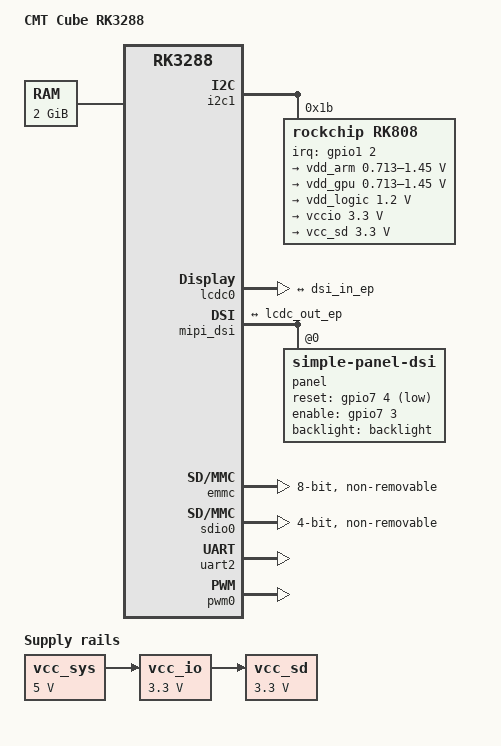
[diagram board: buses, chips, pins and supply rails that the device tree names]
// SPDX-License-Identifier: GPL-2.0+
/*
 * Device Tree Source for CMT Cube RK3288
 *
 * Based on vendor DTS and adapted for mainline U-Boot.
 */

#include "rk3288.dtsi"

/ {
	model = "CMT Cube RK3288";
	compatible = "rockchip,rk3288";

	memory {
		reg = <0x0 0x0 0x0 0x80000000>; /* 2GB */
	};

	chosen {
		stdout-path = "serial2:115200n8";
	};

	aliases {
		serial2 = &uart2;
	};

	/* Fixed regulators */
	vcc_sys: vsys-regulator {
		compatible = "regulator-fixed";
		regulator-name = "vcc_sys";
		regulator-min-microvolt = <5000000>;
		regulator-max-microvolt = <5000000>;
		regulator-always-on;
		regulator-boot-on;
	};

	vcc_io: vccio-regulator {
		compatible = "regulator-fixed";
		regulator-name = "vcc_io";
		regulator-min-microvolt = <3300000>;
		regulator-max-microvolt = <3300000>;
		regulator-always-on;
		regulator-boot-on;
		vin-supply = <&vcc_sys>;
	};

	vcc_sd: sd-regulator {
		compatible = "regulator-fixed";
		regulator-name = "vcc_sd";
		regulator-min-microvolt = <3300000>;
		regulator-max-microvolt = <3300000>;
		regulator-always-on;
		regulator-boot-on;
		vin-supply = <&vcc_io>;
	};

	backlight: backlight {
		compatible = "pwm-backlight";
		pwms = <&pwm0 0 25000>; /* 25kHz */
		brightness-levels = /bits/ 16 <0 4 8 ... 255>;
		default-brightness-level = <90>;
		enable-gpios = <&gpio7 2 GPIO_ACTIVE_HIGH>;
		status = "disabled"; /* U-Boot does not drive backlight */
	};
};

/* PMIC: RK808 on I2C1 */
&i2c1 {
	status = "okay";

	rk808: pmic@1b {
		compatible = "rockchip,rk808";
		reg = <0x1b>;
		interrupt-parent = <&gpio1>;
		interrupts = <2 IRQ_TYPE_LEVEL_LOW>;
		pinctrl-names = "default";
		pinctrl-0 = <&pmic_int>;

		system-power-controller;
		wakeup-source;

		regulators {
			vdd_arm: DCDC1 {
				regulator-name = "vdd_arm";
				regulator-min-microvolt = <712500>;
				regulator-max-microvolt = <1450000>;
				regulator-always-on;
				regulator-boot-on;
			};

			vdd_gpu: DCDC2 {
				regulator-name = "vdd_gpu";
				regulator-min-microvolt = <712500>;
				regulator-max-microvolt = <1450000>;
				regulator-always-on;
				regulator-boot-on;
			};

			vdd_logic: DCDC3 {
				regulator-name = "vdd_logic";
				regulator-min-microvolt = <1200000>;
				regulator-max-microvolt = <1200000>;
				regulator-always-on;
				regulator-boot-on;
			};

			vccio: DCDC4 {
				regulator-name = "vccio";
				regulator-min-microvolt = <3300000>;
				regulator-max-microvolt = <3300000>;
				regulator-always-on;
				regulator-boot-on;
			};

			vcc_sd: LDO5 {
				regulator-name = "vcc_sd";
				regulator-min-microvolt = <3300000>;
				regulator-max-microvolt = <3300000>;
				regulator-always-on;
				regulator-boot-on;
			};
		};
	};
};

/* LCDC0 → MIPI-DSI0 */
&lcdc0 {
	status = "okay";

	ports {
		lcdc_out: port {
			lcdc_out_ep: endpoint {
				remote-endpoint = <&dsi_in_ep>;
				data-mapping = "rgb888";
			};
		};
	};
};

&mipi_dsi {
	status = "okay";
	rockchip,dsi-mode = <1>; /* video mode */
	rockchip,dsi-lanes = <4>;

	ports {
		dsi_in: port {
			dsi_in_ep: endpoint {
				remote-endpoint = <&lcdc_out_ep>;
			};
		};
	};

	panel@0 {
		compatible = "simple-panel-dsi";
		reg = <0>;
		reset-gpios = <&gpio7 4 GPIO_ACTIVE_LOW>;
		enable-gpios = <&gpio7 3 GPIO_ACTIVE_HIGH>;
		backlight = <&backlight>;
	};
};

/* Storage */
&emmc {
	bus-width = <8>;
	cap-mmc-highspeed;
	non-removable;
	disable-wp;
	status = "okay";
};

&sdio0 {
	bus-width = <4>;
	non-removable;
	status = "okay";
};

/* UART2 for console */
&uart2 {
	status = "okay";
};

/* PWM0 for backlight */
&pwm0 {
	status = "okay";
};

/* Pin control */
&pinctrl {
	pmic {
		pmic_int: pmic-int {
			rockchip,pins = <1 2 RK_FUNC_GPIO &pcfg_pull_up>;
		};
	};

	lcd {
		lcd_en: lcd-en {
			rockchip,pins = <7 3 RK_FUNC_GPIO &pcfg_pull_none>;
		};

		lcd_rst: lcd-rst {
			rockchip,pins = <7 4 RK_FUNC_GPIO &pcfg_pull_none>;
		};

		bl_en: bl-en {
			rockchip,pins = <7 2 RK_FUNC_GPIO &pcfg_pull_none>;
		};
	};

	pwm {
		pwm0_pin: pwm0-pin {
			rockchip,pins = <7 1 RK_FUNC_2 &pcfg_pull_none>;
		};
	};
};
